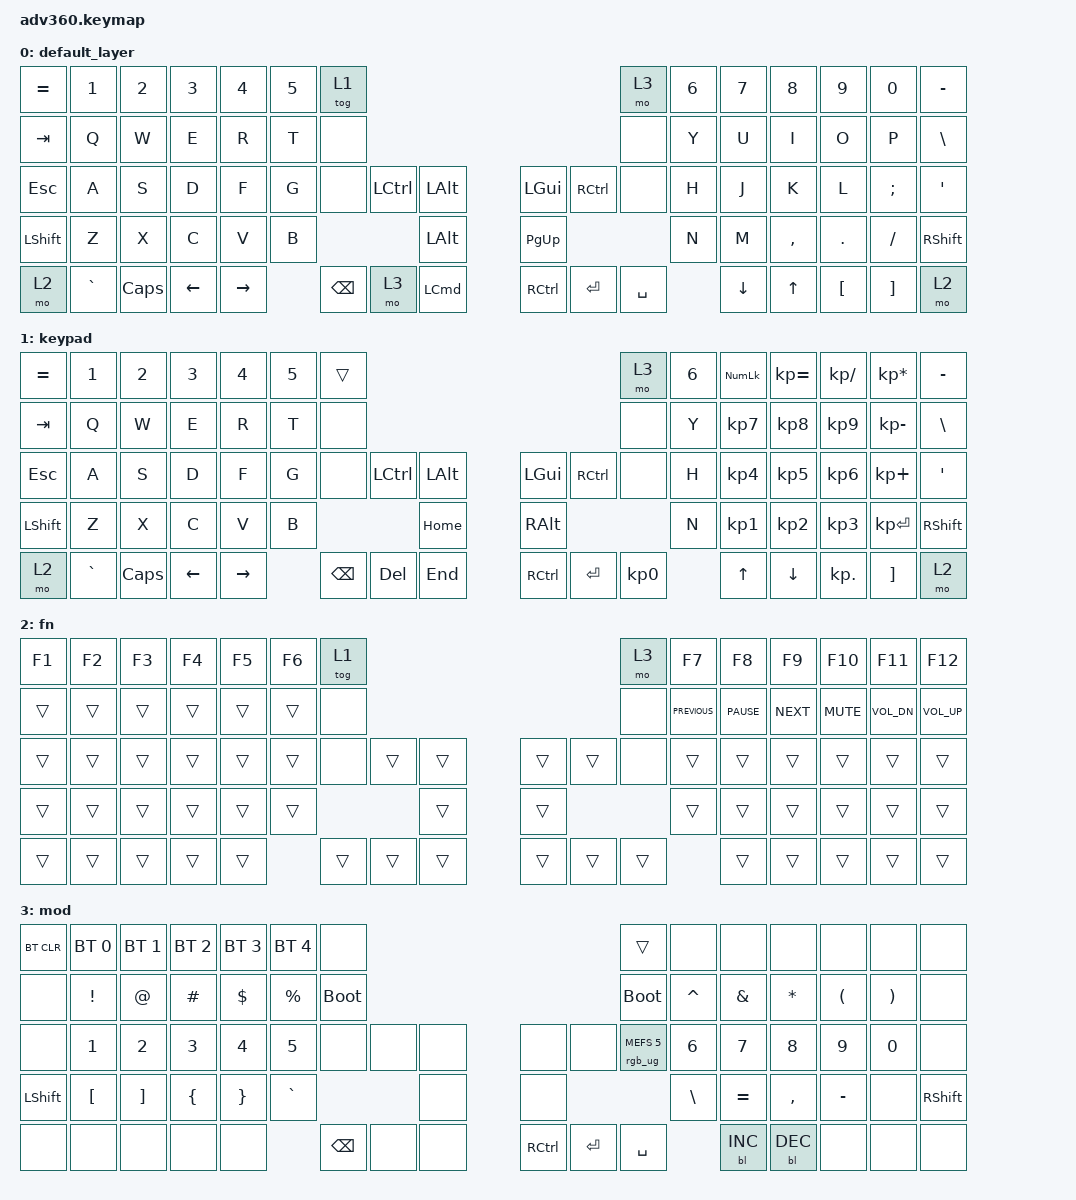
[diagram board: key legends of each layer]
#include <behaviors.dtsi>
#include <dt-bindings/zmk/backlight.h>
#include <dt-bindings/zmk/bt.h>
#include <dt-bindings/zmk/keys.h>
#include <dt-bindings/zmk/rgb.h>

/ {
    behaviors {
        #include "macros.dtsi"
      #include "version.dtsi"
      #ifndef VERSION_MACRO

        macro_ver: macro_ver {
            compatible = "zmk,behavior-macro";
            label = "macro_version";
            #binding-cells = <0>;
            bindings = <&kp RET>;
        };

        #endif

        hm: homerow_mods {
            compatible = "zmk,behavior-hold-tap";
            label = "HOMEROW_MODS";
            #binding-cells = <2>;
            tapping-term-ms = <200>;
            quick_tap_ms = <175>;
            flavor = "tap-preferred";
            bindings = <&kp>, <&kp>;
        };
    };

    macros {
    };

    keymap {
        compatible = "zmk,keymap";

        default_layer {
            bindings = <
&kp EQUAL  &kp N1     &kp N2    &kp N3    &kp N4     &kp N5  &tog 1                                                                   &mo 3      &kp N6  &kp N7    &kp N8        &kp N9    &kp N0    &kp MINUS
&kp TAB    &kp Q      &kp W     &kp E     &kp R      &kp T   &none                                                                    &none      &kp Y   &kp U     &kp I         &kp O     &kp P     &kp BSLH
&kp ESC    &kp A      &kp S     &kp D     &kp F      &kp G   &none     &kp LCTRL  &kp LALT              &kp LGUI           &kp RCTRL  &none      &kp H   &kp J     &kp K         &kp L     &kp SEMI  &kp SQT
&kp LSHFT  &kp Z      &kp X     &kp C     &kp V      &kp B                        &kp LALT              &kp PG_UP                                &kp N   &kp M     &kp COMMA     &kp DOT   &kp FSLH  &kp RSHFT
&mo 2      &kp GRAVE  &kp CAPS  &kp LEFT  &kp RIGHT          &kp BSPC  &mo 3      &kp LEFT_COMMAND      &kp RIGHT_CONTROL  &kp ENTER  &kp SPACE          &kp DOWN  &kp UP_ARROW  &kp LBKT  &kp RBKT  &mo 2
            >;
        };

        keypad {
            bindings = <
&kp EQUAL  &kp N1     &kp N2    &kp N3    &kp N4     &kp N5  &trans                                                       &mo 3      &kp N6  &kp KP_NUM  &kp KP_EQUAL  &kp KP_DIVIDE  &kp KP_MULTIPLY  &kp MINUS
&kp TAB    &kp Q      &kp W     &kp E     &kp R      &kp T   &none                                                        &none      &kp Y   &kp KP_N7   &kp KP_N8     &kp KP_N9      &kp KP_MINUS     &kp BSLH
&kp ESC    &kp A      &kp S     &kp D     &kp F      &kp G   &none     &kp LCTRL  &kp LALT      &kp LGUI       &kp RCTRL  &none      &kp H   &kp KP_N4   &kp KP_N5     &kp KP_N6      &kp KP_PLUS      &kp SQT
&kp LSHFT  &kp Z      &kp X     &kp C     &kp V      &kp B                        &kp HOME      &kp RIGHT_ALT                        &kp N   &kp KP_N1   &kp KP_N2     &kp KP_N3      &kp KP_ENTER     &kp RSHFT
&mo 2      &kp GRAVE  &kp CAPS  &kp LEFT  &kp RIGHT          &kp BSPC  &kp DEL    &kp END       &kp RCTRL      &kp ENTER  &kp KP_N0          &kp UP      &kp DOWN      &kp KP_DOT     &kp RBKT         &mo 2
            >;
        };

        fn {
            bindings = <
&kp F1  &kp F2  &kp F3  &kp F4  &kp F5  &kp F6  &tog 1                                      &mo 3   &kp F7          &kp F8       &kp F9      &kp F10     &kp F11       &kp F12
&trans  &trans  &trans  &trans  &trans  &trans  &none                                       &none   &kp C_PREVIOUS  &kp C_PAUSE  &kp C_NEXT  &kp C_MUTE  &kp C_VOL_DN  &kp C_VOLUME_UP
&trans  &trans  &trans  &trans  &trans  &trans  &none   &trans  &trans      &trans  &trans  &none   &trans          &trans       &trans      &trans      &trans        &trans
&trans  &trans  &trans  &trans  &trans  &trans                  &trans      &trans                  &trans          &trans       &trans      &trans      &trans        &trans
&trans  &trans  &trans  &trans  &trans          &trans  &trans  &trans      &trans  &trans  &trans                  &trans       &trans      &trans      &trans        &trans
            >;
        };

        mod {
            bindings = <
&bt BT_CLR      &bt BT_SEL 0      &bt BT_SEL 1       &bt BT_SEL 2    &bt BT_SEL 3     &bt BT_SEL 4  &none                                                          &trans                  &none          &none          &none         &none                 &none                  &none
&none           &kp EXCLAMATION   &kp AT_SIGN        &kp HASH        &kp DOLLAR       &kp PERCENT   &bootloader                                                    &bootloader             &kp CARET      &kp AMPERSAND  &kp ASTERISK  &kp LEFT_PARENTHESIS  &kp RIGHT_PARENTHESIS  &none
&none           &kp NUMBER_1      &kp NUMBER_2       &kp NUMBER_3    &kp NUMBER_4     &kp N5        &none          &none  &none      &none              &none      &rgb_ug RGB_MEFS_CMD 5  &kp NUMBER_6   &kp N7         &kp N8        &kp N9                &kp N0                 &none
&kp LEFT_SHIFT  &kp LEFT_BRACKET  &kp RIGHT_BRACKET  &kp LEFT_BRACE  &kp RIGHT_BRACE  &kp GRAVE                           &none      &none                                                 &kp BACKSLASH  &kp EQUAL      &kp COMMA     &kp MINUS             &none                  &kp RIGHT_SHIFT
&none           &none             &none              &none           &none                          &kp BACKSPACE  &none  &none      &kp RIGHT_CONTROL  &kp ENTER  &kp SPACE                              &bl BL_INC     &bl BL_DEC    &none                 &none                  &none
            >;
        };
    };
};
